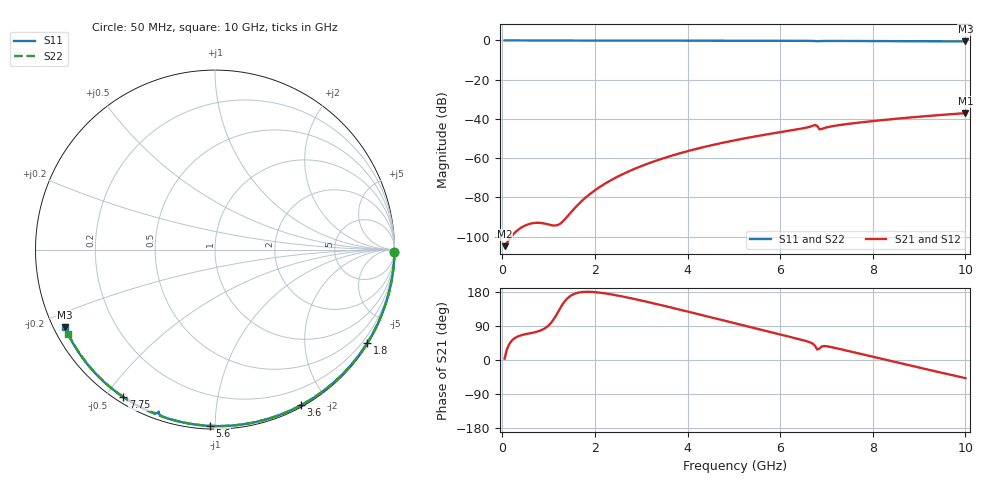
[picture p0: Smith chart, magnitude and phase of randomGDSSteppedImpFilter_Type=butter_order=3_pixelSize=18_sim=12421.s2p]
! freq	dB(S11)	phase(S11)	dB(S12)	phase(S12)
!  dB(S21)	phase(S21)	dB(S22)	phase(S22)
!S-par simulation data
#  GHz  S  DB  R 50
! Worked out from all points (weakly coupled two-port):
!   200 points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, 50 MHz to 10 GHz, reference 50 ohm
!   highest |S21| = -37.07 dB at 10 GHz (marker M1); lowest = -104.9 dB at 50 MHz (marker M2)
!   lowest |S11| = -0.5 dB at 10 GHz (marker M3), VSWR 33.56, Z = 1.58 - j12.2 ohm
!   |S11| at or under -10 dB: nowhere
!   |S22| runs from -0.5 to 0.0 dB; largest |S21 - S12| = 0
!   S11 on the Smith chart (normalised r, x): 50 MHz: open; 1.8 GHz: 0.03, -3.56; 3.6 GHz: 0.02, -1.69; 5.6 GHz: 0.02, -0.97; 7.75 GHz: 0.02, -0.56; 10 GHz: 0.03, -0.24
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0.05  -0.00 -0.9  -104.89 3.7  -104.89 3.7  -0.00 -0.9
0.85  -0.02 -15.0  -93.10 79.1  -93.10 79.1  -0.02 -14.6
1.75  -0.04 -30.6  -81.12 179.6  -81.12 179.6  -0.04 -29.8
1.8  -0.04 -31.4  -80.09 179.9  -80.09 179.9  -0.04 -30.7
2.15  -0.05 -37.4  -74.02 177.0  -74.02 177.0  -0.05 -36.5
2.5  -0.06 -43.2  -69.34 169.9  -69.34 169.9  -0.05 -42.2
2.9  -0.06 -49.8  -65.04 159.8  -65.04 159.8  -0.06 -48.7
3.4  -0.08 -58.0  -60.67 145.7  -60.67 145.7  -0.08 -56.6
3.6  -0.08 -61.2  -59.16 139.8  -59.16 139.8  -0.08 -59.8
4.3  -0.10 -72.2  -54.65 118.8  -54.65 118.8  -0.10 -70.6
5.05  -0.13 -83.6  -50.77 96.1  -50.77 96.1  -0.13 -81.8
5.6  -0.15 -91.7  -48.36 79.4  -48.36 79.4  -0.15 -89.8
6.45  -0.20 -104.1  -44.99 53.6  -44.99 53.6  -0.19 -101.8
6.7  -0.23 -107.9  -43.56 43.4  -43.56 43.4  -0.20 -105.3
6.75  -0.28 -108.8  -43.12 38.0  -43.12 38.0  -0.21 -106.0
6.8  -0.39 -109.2  -43.60 27.4  -43.60 27.4  -0.21 -106.7
6.85  -0.34 -109.1  -45.32 30.1  -45.32 30.1  -0.21 -107.4
7.15  -0.25 -113.5  -43.62 32.8  -43.62 32.8  -0.23 -111.5
7.75  -0.29 -121.9  -41.76 15.7  -41.76 15.7  -0.28 -119.7
8.35  -0.34 -130.1  -40.27 -1.6  -40.27 -1.6  -0.33 -127.7
9.2  -0.42 -141.7  -38.49 -25.6  -38.49 -25.6  -0.41 -139.2
10  -0.52 -152.6  -37.07 -47.8  -37.07 -47.8  -0.51 -150.0
